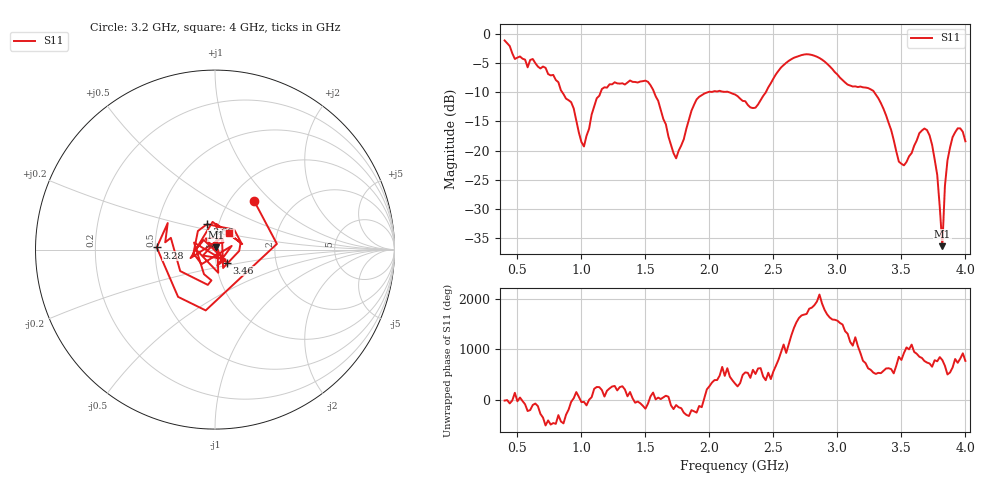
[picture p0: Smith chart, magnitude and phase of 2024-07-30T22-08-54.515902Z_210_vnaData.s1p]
!Created with skrf (http://scikit-rf.org).
# Hz S RI R 50.0
!freq ReS11 ImS11
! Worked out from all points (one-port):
!   181 points, 400 MHz to 4 GHz, reference 50 ohm
!   lowest |S11| = -36.4 dB at 3.82 GHz (marker M1), VSWR 1.03, Z = 50.6 + j1.4 ohm
!   |S11| at or under -10 dB: 849.7 MHz to 1.151 GHz (301 MHz wide, 30.1 % of centre); 1.568 GHz to 1.99 GHz (422.1 MHz wide, 23.7 % of centre); 3.287 GHz to end of sweep (the widest 3 of 4)
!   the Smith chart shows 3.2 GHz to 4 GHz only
!   S11 on the Smith chart (normalised r, x): 3.2 GHz: 1.29, +0.79; 3.28 GHz: 0.51, +0.01; 3.46 GHz: 1.13, -0.16; 3.66 GHz: 0.88, +0.25; 4 GHz: 1.15, +0.21
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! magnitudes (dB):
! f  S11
! 400 MHz  -1.2
! 860 MHz  -10.3
! 940 MHz  -12.8
! 1.02 GHz  -19.3
! 1.16 GHz  -9.5
! 1.3 GHz  -8.5
! 1.52 GHz  -8.2
! 1.72 GHz  -20.5
! 1.76 GHz  -20.0
! 1.92 GHz  -10.8
! 2.2 GHz  -10.4
! 2.36 GHz  -12.7
! 2.66 GHz  -4.1
! 2.84 GHz  -3.9
! 3.1 GHz  -8.9
! 3.2 GHz  -9.2
! 3.28 GHz  -9.8
! 3.46 GHz  -20.1
! 3.52 GHz  -22.5
! 3.56 GHz  -21.0
! 3.66 GHz  -16.6
! 3.74 GHz  -19.0
! 3.78 GHz  -24.2
! 3.82 GHz  -36.4
! 3.84 GHz  -26.1
! 3.88 GHz  -19.5
! 3.94 GHz  -16.2
! 4 GHz  -18.4
